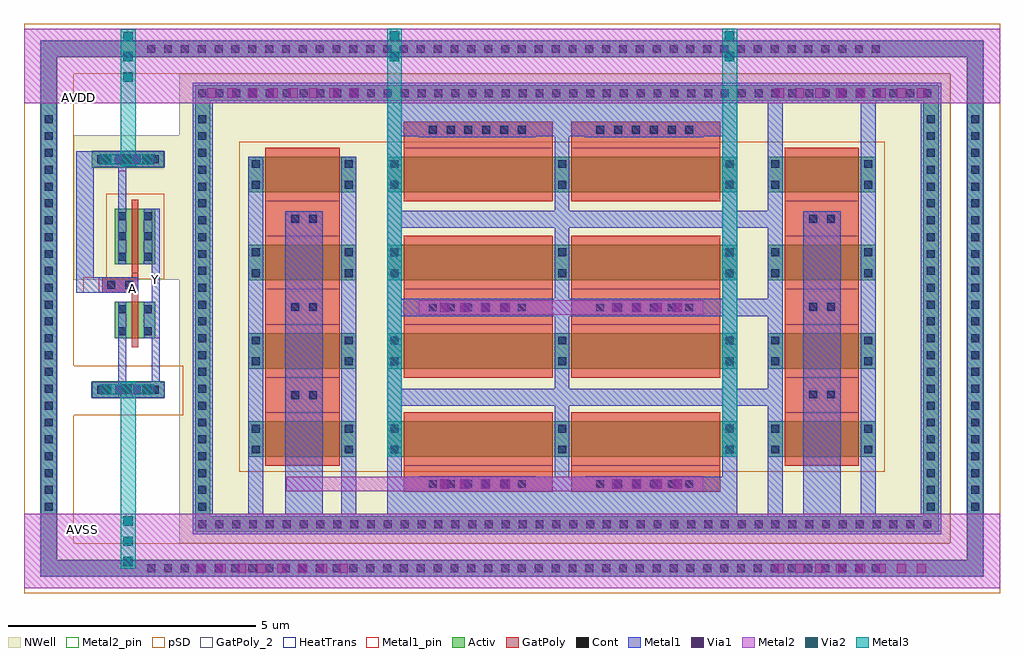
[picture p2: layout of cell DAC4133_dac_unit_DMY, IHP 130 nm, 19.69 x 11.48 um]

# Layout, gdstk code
import gdstk
lib = gdstk.Library(unit=1e-6, precision=1e-09)
def R(c, l, rs):  # rectangles x0, y0, x1, y1
    for r in rs: c.add(gdstk.rectangle(r[:2], r[2:], *l))
def A(c, l, x, y, w, h, nx, ny, dx, dy):  # array of equal rectangles
    R(c, l, [(x+i*dx, y+j*dy, x+i*dx+w, y+j*dy+h) for i in range(nx) for j in range(ny)])
def P(c, l, *ps):  # polygons
    for p in ps: c.add(gdstk.Polygon(p, *l))
Activ = (1, 0)
GatPoly = (5, 0)
GatPoly_2 = (5, 2)
Cont = (6, 0)
Metal1 = (8, 0)
Metal1_pin = (8, 2)
Metal2 = (10, 0)
Metal2_pin = (10, 2)
pSD = (14, 0)
Via1 = (19, 0)
Via2 = (29, 0)
Metal3 = (30, 0)
NWell = (31, 0)
HeatTrans = (51, 0)

pmos_2 = lib.new_cell('pmos$2')
R(pmos_2, Activ, [(0,0,0.3,0.3), (0,0,0.81,1.12), (0.51,0,0.81,0.3)])
R(pmos_2, GatPoly, [(0.34,-0.18,0.47,1.3), (0.34,-0.18,0.47,1.3)])
A(pmos_2, Cont, 0.07, 0.07, 0.16, 0.16, 1, 3, 0, 0.41)
A(pmos_2, Cont, 0.58, 0.07, 0.16, 0.16, 1, 3, 0, 0.41)
R(pmos_2, Metal1, [(0.07,0,0.23,1.12), (0.07,0,0.23,1.12), (0.58,0,0.74,1.12), (0.58,0,0.74,1.12)])
R(pmos_2, pSD, [(-0.18,-0.3,0.99,1.42)])
R(pmos_2, NWell, [(-0.31,-0.31,1.12,1.43)])
R(pmos_2, HeatTrans, [(0.34,-0.18,0.47,1.3)])
pmos_2.add(gdstk.Label('pmos', (0.405,0.56), layer=63, texttype=0))
pmos_2.add(gdstk.Label('pmos', (0.405,0.56), layer=51, texttype=0))

nmos_2 = lib.new_cell('nmos$2')
R(nmos_2, Activ, [(0,0,0.3,0.3), (0,0,0.81,0.74), (0.51,0,0.81,0.3)])
R(nmos_2, GatPoly, [(0.34,-0.18,0.47,0.92)])
R(nmos_2, GatPoly_2, [(0.34,-0.18,0.47,0.92)])
R(nmos_2, Cont, [(0.07,0.07,0.23,0.23), (0.58,0.07,0.74,0.23), (0.07,0.51,0.23,0.67), (0.58,0.51,0.74,0.67)])
R(nmos_2, Metal1, [(0.07,0,0.23,0.74), (0.58,0,0.74,0.74)])
R(nmos_2, Metal1_pin, [(0.07,0,0.23,0.74), (0.58,0,0.74,0.74)])
R(nmos_2, HeatTrans, [(0.34,-0.18,0.47,0.92)])
nmos_2.add(gdstk.Label('nmos', (0.405,0.37), layer=63, texttype=0))
nmos_2.add(gdstk.Label('nmos', (0.405,0.37), layer=51, texttype=0))

pmos_3 = lib.new_cell('pmos$3')
R(pmos_3, Activ, [(0,0,0.3,0.3), (0,0,3.68,0.72), (3.38,0,3.68,0.3)])
R(pmos_3, GatPoly, [(0.34,-0.18,3.34,0.9), (0.34,-0.18,3.34,0.9)])
R(pmos_3, Cont, [(0.07,0.07,0.23,0.23), (3.45,0.07,3.61,0.23), (0.07,0.49,0.23,0.65), (3.45,0.49,3.61,0.65)])
R(pmos_3, Metal1, [(0.07,0,0.23,0.72), (0.07,0,0.23,0.72), (3.45,0,3.61,0.72), (3.45,0,3.61,0.72)])
R(pmos_3, pSD, [(-0.18,-0.3,3.86,1.02)])
R(pmos_3, NWell, [(-0.31,-0.31,3.99,1.03)])
R(pmos_3, HeatTrans, [(0.34,-0.18,3.34,0.9)])
pmos_3.add(gdstk.Label('pmos', (1.84,0.36), layer=63, texttype=0))
pmos_3.add(gdstk.Label('pmos', (1.84,0.36), layer=51, texttype=0))

via_stack_20 = lib.new_cell('via_stack$20')
R(via_stack_20, Metal1, [(-0.76,-0.105,0.76,0.105)])
R(via_stack_20, Metal2, [(-0.76,-0.1,0.76,0.1)])
A(via_stack_20, Via1, -0.71, -0.095, 0.19, 0.19, 4, 1, 0.41, 0)

pmos_4 = lib.new_cell('pmos$4')
R(pmos_4, Activ, [(0,0,0.3,0.3), (0,0,2.18,0.72), (1.88,0,2.18,0.3)])
R(pmos_4, GatPoly, [(0.34,-0.18,1.84,0.9), (0.34,-0.18,1.84,0.9)])
R(pmos_4, Cont, [(0.07,0.07,0.23,0.23), (1.95,0.07,2.11,0.23), (0.07,0.49,0.23,0.65), (1.95,0.49,2.11,0.65)])
R(pmos_4, Metal1, [(0.07,0,0.23,0.72), (0.07,0,0.23,0.72), (1.95,0,2.11,0.72), (1.95,0,2.11,0.72)])
R(pmos_4, pSD, [(-0.18,-0.3,2.36,1.02)])
R(pmos_4, NWell, [(-0.31,-0.31,2.49,1.03)])
R(pmos_4, HeatTrans, [(0.34,-0.18,1.84,0.9)])
pmos_4.add(gdstk.Label('pmos', (1.09,0.36), layer=63, texttype=0))
pmos_4.add(gdstk.Label('pmos', (1.09,0.36), layer=51, texttype=0))

via_stack_2 = lib.new_cell('via_stack$2')
R(via_stack_2, Metal2, [(-0.1,-0.35,0.1,0.35)])
R(via_stack_2, Via2, [(-0.095,-0.3,0.095,-0.11), (-0.095,0.11,0.095,0.3)])
R(via_stack_2, Metal3, [(-0.1,-0.35,0.1,0.35)])

via_stack_9 = lib.new_cell('via_stack$9')
R(via_stack_9, Metal1, [(-1.58,-0.105,1.58,0.105)])
R(via_stack_9, Metal2, [(-1.58,-0.1,1.58,0.1)])
A(via_stack_9, Via1, -1.53, -0.095, 0.19, 0.19, 8, 1, 0.41, 0)

guard_ring_1_1 = lib.new_cell('GUARD_RING$1$1')
P(guard_ring_1_1, Activ, [(0,0),(0,8.69),(0.31,8.69),(0.31,0.31),(14.69,0.31),(14.69,8.69),(0,8.69),(0,9),(15,9),(15,0)])
A(guard_ring_1_1, Cont, 0.07, 0.07, 0.16, 0.16, 44, 2, 0.34, 8.69)
A(guard_ring_1_1, Cont, 0.07, 0.42, 0.16, 0.16, 1, 24, 0, 0.34)
A(guard_ring_1_1, Cont, 14.76, 0.42, 0.16, 0.16, 1, 24, 0, 0.34)
P(guard_ring_1_1, Metal1, [(-0.05,-0.05),(-0.05,8.64),(0.36,8.64),(0.36,0.36),(14.64,0.36),(14.64,8.64),(-0.05,8.64),(-0.05,9.05),(15.05,9.05),(15.05,-0.05)])
P(guard_ring_1_1, NWell, [(-0.24,-0.24),(-0.24,8.45),(0.55,8.45),(0.55,0.55),(14.45,0.55),(14.45,8.45),(-0.24,8.45),(-0.24,9.24),(15.24,9.24),(15.24,-0.24)])

via_stack_21 = lib.new_cell('via_stack$21')
R(via_stack_21, Metal2, [(-0.1,-0.555,0.1,0.555)])
A(via_stack_21, Via2, -0.095, -0.505, 0.19, 0.19, 1, 3, 0, 0.41)
R(via_stack_21, Metal3, [(-0.1,-0.555,0.1,0.555)])

via_stack_22 = lib.new_cell('via_stack$22')
R(via_stack_22, Metal1, [(-0.555,-0.105,0.555,0.105)])
R(via_stack_22, Metal2, [(-0.555,-0.1,0.555,0.1)])
A(via_stack_22, Via1, -0.505, -0.095, 0.19, 0.19, 3, 1, 0.41, 0)
A(via_stack_22, Via2, -0.505, -0.095, 0.19, 0.19, 3, 1, 0.41, 0)
R(via_stack_22, Metal3, [(-0.555,-0.1,0.555,0.1)])

dac4133_dac_unit_dmy = lib.new_cell('DAC4133_dac_unit_DMY')
R(dac4133_dac_unit_dmy, Activ, [(3.97,-1.71,5.42,-1.36), (3.965,2.94,5.415,3.29)])
A(dac4133_dac_unit_dmy, GatPoly, 7.46, -1.99, 1.5, 0.7, 1, 3, 0, 1.78)
A(dac4133_dac_unit_dmy, GatPoly, 17.94, -1.99, 1.5, 0.7, 1, 3, 0, 1.78)
A(dac4133_dac_unit_dmy, GatPoly, 7.88, -1.8, 0.73, 0.31, 1, 3, 0, 1.78)
R(dac4133_dac_unit_dmy, GatPoly, [(10.26,-3.59,13.26,-3.07), (10.56,-3.59,12.92,-3.28), (13.64,-3.59,16.64,-3.07), (13.91,-3.59,16.3,-3.28), (18.33,-1.785,19.06,-1.475), (10.26,-0.21,13.26,0.49), (13.64,-0.21,16.64,0.49), (10.56,-0.03,12.92,0.28), (13.91,-0.03,16.3,0.28), (18.33,-0.015,19.06,0.295), (4.17,0.425,4.9,0.735), (18.33,1.76,19.06,2.07), (10.26,3.35,13.26,3.87), (13.64,3.35,16.64,3.87), (10.56,3.56,12.92,3.87), (13.91,3.56,16.3,3.87)])
R(dac4133_dac_unit_dmy, GatPoly_2, [(4.77,-0.68,4.9,2.3)])
A(dac4133_dac_unit_dmy, Cont, 5.08, -5.215, 0.16, 0.16, 44, 2, 0.34, 10.475)
A(dac4133_dac_unit_dmy, Cont, 3.015, -3.975, 0.16, 0.16, 1, 24, 0, 0.34)
A(dac4133_dac_unit_dmy, Cont, 21.71, -3.975, 0.16, 0.16, 1, 24, 0, 0.34)
A(dac4133_dac_unit_dmy, Cont, 10.76, -3.515, 0.16, 0.16, 6, 2, 0.36, 3.56)
A(dac4133_dac_unit_dmy, Cont, 14.14, -3.515, 0.16, 0.16, 6, 2, 0.36, 3.56)
A(dac4133_dac_unit_dmy, Cont, 7.985, -1.725, 0.16, 0.16, 1, 3, 0, 1.78)
A(dac4133_dac_unit_dmy, Cont, 8.345, -1.725, 0.16, 0.16, 1, 3, 0, 1.78)
A(dac4133_dac_unit_dmy, Cont, 4.075, -1.615, 0.16, 0.16, 4, 1, 0.36, 0)
A(dac4133_dac_unit_dmy, Cont, 4.07, 3.035, 0.16, 0.16, 4, 1, 0.36, 0)
A(dac4133_dac_unit_dmy, Cont, 10.76, 3.635, 0.16, 0.16, 6, 1, 0.36, 0)
A(dac4133_dac_unit_dmy, Cont, 14.14, 3.635, 0.16, 0.16, 6, 1, 0.36, 0)
R(dac4133_dac_unit_dmy, Cont, [(18.435,-1.71,18.595,-1.55), (18.795,-1.71,18.955,-1.55), (18.435,0.06,18.595,0.22), (18.795,0.06,18.955,0.22), (4.275,0.5,4.435,0.66), (4.635,0.5,4.795,0.66), (18.435,1.835,18.595,1.995), (18.795,1.835,18.955,1.995)])
A(dac4133_dac_unit_dmy, Metal1, 9.92, -4.38, 0.3, 8.815, 3, 1, 3.38, 0)
A(dac4133_dac_unit_dmy, Metal1, 7.88, -1.8, 0.73, 0.31, 1, 3, 0, 1.78)
R(dac4133_dac_unit_dmy, Metal1, [(17.6,-4.38,17.9,4.435), (19.48,-4.38,19.78,4.435), (10.025,-4.32,16.85,-3.39), (10.08,-4.02,16.795,-3.285), (10.56,-3.59,12.92,-3.28), (13.91,-3.59,16.3,-3.28), (10.115,-1.86,17.9,-1.51), (18.33,-1.785,19.06,-1.475), (3.955,-1.695,5.435,-1.375), (5.17,-1.685,5.33,2.06), (5.17,-0.5,5.33,2.12), (10.115,-0.05,17.9,0.3), (10.56,-0.03,12.92,0.28), (13.91,-0.03,16.3,0.28), (18.33,-0.015,19.06,0.295), (3.645,0.425,4,3.275), (4.17,0.425,4.9,0.735), (10.115,1.73,17.9,2.08), (14.815,1.75,17.205,2.06), (18.33,1.76,19.06,2.07), (4.5,2.88,4.66,3.275), (3.95,2.955,5.43,3.275), (10.56,3.56,12.92,3.87), (13.91,3.56,16.3,3.87), (10.08,3.575,16.795,4.31)])
R(dac4133_dac_unit_dmy, Metal1_pin, [(4.5,-1.695,4.66,0.24), (5.17,-0.5,5.33,2.12), (5.17,-0.5,5.33,2.12), (3.79,0.425,4.11,0.735), (4.5,1,4.66,2.885)])
R(dac4133_dac_unit_dmy, Metal2_pin, [(2.595,-5.535,22.285,-4.035), (2.595,4.245,22.285,5.745)])
R(dac4133_dac_unit_dmy, pSD, [(6.94,-3.19,19.96,3.47), (3.595,-2.045,3.6,-1.045), (3.6,-2.045,5.81,-1.045)])
R(dac4133_dac_unit_dmy, NWell, [(5.725,-4.635,6.05,4.845), (5.805,-4.635,21.285,4.845), (3.595,0.69,5.805,3.605)])
dac4133_dac_unit_dmy.add(gdstk.FlexPath([(4.9,0.58),(3.79,0.58)], 0.31, ends="flush", simple_path=True, layer=8, datatype=0))  # Metal1
dac4133_dac_unit_dmy.add(gdstk.FlexPath([(4.58,0.24),(4.58,-1.695)], 0.16, ends="flush", simple_path=True, layer=8, datatype=0))  # Metal1
dac4133_dac_unit_dmy.add(gdstk.FlexPath([(4.58,2.885),(4.58,2.12)], 0.16, ends="flush", simple_path=True, layer=8, datatype=0))  # Metal1
dac4133_dac_unit_dmy.add(gdstk.FlexPath([(16.83,-1.11),(16.83,2.075)], 0.3, ends="flush", simple_path=True, layer=8, datatype=0))  # Metal1
dac4133_dac_unit_dmy.add(gdstk.FlexPath([(10.07,-1.11),(10.07,2.075)], 0.3, ends="flush", simple_path=True, layer=8, datatype=0))  # Metal1
dac4133_dac_unit_dmy.add(gdstk.FlexPath([(3.79,0.425),(3.79,3.275)], 0.29, ends="flush", simple_path=True, layer=8, datatype=0))  # Metal1
dac4133_dac_unit_dmy.add(gdstk.FlexPath([(19.63,3.17),(19.63,-4.445)], 0.3, ends="flush", simple_path=True, layer=8, datatype=0))  # Metal1
dac4133_dac_unit_dmy.add(gdstk.FlexPath([(17.75,3.17),(17.75,-4.445)], 0.3, ends="flush", simple_path=True, layer=8, datatype=0))  # Metal1
dac4133_dac_unit_dmy.add(gdstk.FlexPath([(9.15,3.17),(9.15,-4.445)], 0.3, ends="flush", simple_path=True, layer=8, datatype=0))  # Metal1
dac4133_dac_unit_dmy.add(gdstk.FlexPath([(7.27,3.17),(7.27,-4.445)], 0.3, ends="flush", simple_path=True, layer=8, datatype=0))  # Metal1
dac4133_dac_unit_dmy.add(gdstk.FlexPath([(8.245,-4.445),(8.245,2.07)], 0.75, ends="flush", simple_path=True, layer=8, datatype=0))  # Metal1
dac4133_dac_unit_dmy.add(gdstk.FlexPath([(18.695,-4.445),(18.695,2.07)], 0.75, ends="flush", simple_path=True, layer=8, datatype=0))  # Metal1
dac4133_dac_unit_dmy.add(gdstk.FlexPath([(21.785,-5.135),(21.785,5.345),(3.095,5.345),(3.095,-5.135),(21.945,-5.135)], 0.32, ends="flush", simple_path=True, layer=8, datatype=0))  # Metal1
dac4133_dac_unit_dmy.add(gdstk.FlexPath([(16.83,-1.11),(16.83,2.075)], 0.3, ends="flush", simple_path=True, layer=8, datatype=0))  # Metal1
dac4133_dac_unit_dmy.add(gdstk.FlexPath([(16.3,0.125),(10.56,0.125)], 0.3, ends="flush", simple_path=True, layer=10, datatype=0))  # Metal2
dac4133_dac_unit_dmy.add(gdstk.FlexPath([(2.595,4.995),(22.285,4.995)], 1.5, ends="flush", simple_path=True, layer=10, datatype=0))  # Metal2
dac4133_dac_unit_dmy.add(gdstk.FlexPath([(7.89,-3.435),(16.3,-3.435)], 0.3, ends="flush", simple_path=True, layer=10, datatype=0))  # Metal2
dac4133_dac_unit_dmy.add(gdstk.FlexPath([(2.595,-4.785),(22.285,-4.785)], 1.5, ends="flush", simple_path=True, layer=10, datatype=0))  # Metal2
dac4133_dac_unit_dmy.add(gdstk.FlexPath([(10.07,-2.89),(10.07,5.745)], 0.3, ends="flush", simple_path=True, layer=30, datatype=0))  # Metal3
dac4133_dac_unit_dmy.add(gdstk.FlexPath([(16.83,-2.89),(16.83,5.745)], 0.3, ends="flush", simple_path=True, layer=30, datatype=0))  # Metal3
dac4133_dac_unit_dmy.add(gdstk.FlexPath([(4.695,2.97),(4.695,5.74)], 0.3, ends="flush", simple_path=True, layer=30, datatype=0))  # Metal3
dac4133_dac_unit_dmy.add(gdstk.FlexPath([(4.695,-5.145),(4.695,-1.375)], 0.3, ends="flush", simple_path=True, layer=30, datatype=0))  # Metal3
dac4133_dac_unit_dmy.add(gdstk.FlexPath([(4.835,0.42),(4.835,0.825)], 0.13, ends="flush", simple_path=True, layer=5, datatype=0))  # GatPoly
dac4133_dac_unit_dmy.add(gdstk.FlexPath([(21.785,-5.635),(21.785,5.345),(3.095,5.345),(3.095,-5.135),(22.285,-5.135)], 1, ends="flush", simple_path=True, layer=14, datatype=0))  # pSD
dac4133_dac_unit_dmy.add(gdstk.FlexPath([(21.785,-5.135),(21.785,5.345),(3.095,5.345),(3.095,-5.135),(21.96,-5.135)], 0.35, ends="flush", simple_path=True, layer=1, datatype=0))  # Activ
dac4133_dac_unit_dmy.add(gdstk.Reference(pmos_2, (4.43,1)))
dac4133_dac_unit_dmy.add(gdstk.Reference(nmos_2, (4.43,-0.5)))
dac4133_dac_unit_dmy.add(gdstk.Reference(pmos_3, (9.92,0.67)))
dac4133_dac_unit_dmy.add(gdstk.Reference(pmos_3, (13.3,0.67)))
dac4133_dac_unit_dmy.add(gdstk.Reference(pmos_3, (9.92,-1.11)))
dac4133_dac_unit_dmy.add(gdstk.Reference(pmos_3, (13.3,-1.11)))
dac4133_dac_unit_dmy.add(gdstk.Reference(via_stack_20, (15.16,0.125)))
dac4133_dac_unit_dmy.add(gdstk.Reference(pmos_4, (7.12,2.45)))
dac4133_dac_unit_dmy.add(gdstk.Reference(pmos_3, (9.92,2.45)))
dac4133_dac_unit_dmy.add(gdstk.Reference(pmos_3, (13.3,2.45)))
dac4133_dac_unit_dmy.add(gdstk.Reference(pmos_3, (9.92,-2.89)))
dac4133_dac_unit_dmy.add(gdstk.Reference(pmos_3, (13.3,-2.89)))
dac4133_dac_unit_dmy.add(gdstk.Reference(pmos_4, (17.6,2.45)))
dac4133_dac_unit_dmy.add(gdstk.Reference(via_stack_20, (11.695,0.125)))
dac4133_dac_unit_dmy.add(gdstk.Reference(pmos_4, (17.6,0.67)))
dac4133_dac_unit_dmy.add(gdstk.Reference(pmos_4, (17.6,-1.11)))
dac4133_dac_unit_dmy.add(gdstk.Reference(pmos_4, (17.6,-2.89)))
dac4133_dac_unit_dmy.add(gdstk.Reference(pmos_4, (7.12,0.67)))
dac4133_dac_unit_dmy.add(gdstk.Reference(pmos_4, (7.12,-1.11)))
dac4133_dac_unit_dmy.add(gdstk.Reference(pmos_4, (7.12,-2.89)))
dac4133_dac_unit_dmy.add(gdstk.Reference(via_stack_20, (15.16,-3.435)))
dac4133_dac_unit_dmy.add(gdstk.Reference(via_stack_20, (11.695,-3.435)))
dac4133_dac_unit_dmy.add(gdstk.Reference(via_stack_2, (16.83,5.395)))
dac4133_dac_unit_dmy.add(gdstk.Reference(via_stack_2, (10.07,5.395)))
dac4133_dac_unit_dmy.add(gdstk.Reference(via_stack_9, (19.27,4.45)))
dac4133_dac_unit_dmy.add(gdstk.Reference(via_stack_9, (7.82,4.45)))
dac4133_dac_unit_dmy.add(gdstk.Reference(guard_ring_1_1, (6.045,-4.395)))
dac4133_dac_unit_dmy.add(gdstk.Reference(via_stack_21, (4.695,5.185)))
dac4133_dac_unit_dmy.add(gdstk.Reference(via_stack_22, (4.67,3.115)))
dac4133_dac_unit_dmy.add(gdstk.Reference(via_stack_21, (4.695,-4.59)))
dac4133_dac_unit_dmy.add(gdstk.Reference(via_stack_22, (4.67,-1.52)))
dac4133_dac_unit_dmy.add(gdstk.Reference(via_stack_9, (19.27,-5.135)))
dac4133_dac_unit_dmy.add(gdstk.Reference(via_stack_9, (7.595,-5.135)))
dac4133_dac_unit_dmy.add(gdstk.Label('Y', (5.25,0.7), layer=8, texttype=2))
dac4133_dac_unit_dmy.add(gdstk.Label('AVDD', (3.7,4.365), layer=10, texttype=25))
dac4133_dac_unit_dmy.add(gdstk.Label('AVSS', (3.785,-4.345), layer=10, texttype=25))
dac4133_dac_unit_dmy.add(gdstk.Label('A', (4.785,0.5), layer=5, texttype=2))

lib.write_gds('DAC4133_dac_unit_DMY.gds')
